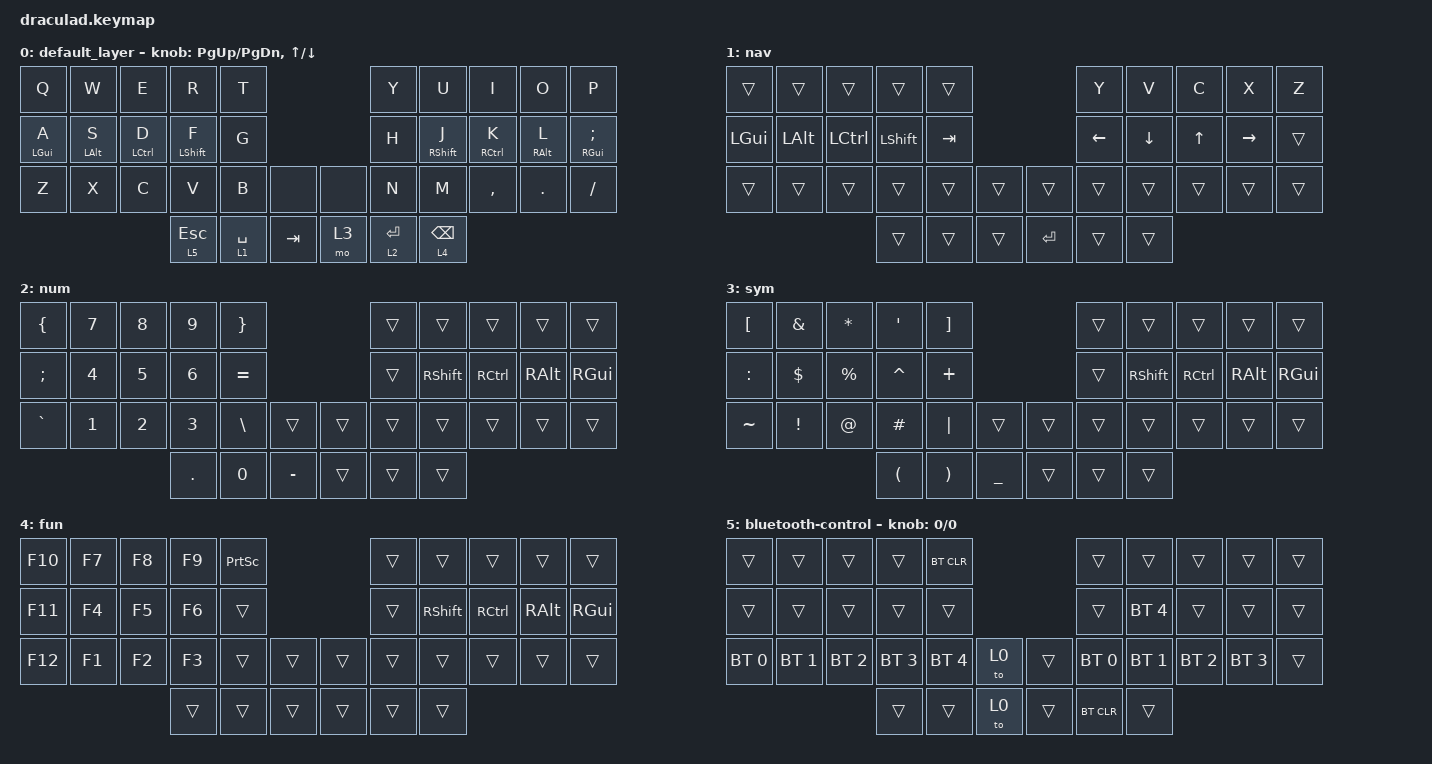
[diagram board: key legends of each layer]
/*
 * Copyright (c) 2020 The ZMK Contributors
 *
 * SPDX-License-Identifier: MIT
 */

#include <behaviors.dtsi>
#include <dt-bindings/zmk/bt.h>
#include <dt-bindings/zmk/keys.h>

&mt { tapping-term-ms = <800>; };

&lt { quick-tap-ms = <125>; };

/ {
    behaviors {
        hold_tap_modifier: hold_tap_modifier {
            compatible = "zmk,behavior-hold-tap";
            label = "HOLD_TAP_MODIFIER";
            bindings = <&kp>, <&kp>;

            #binding-cells = <2>;
            tapping-term-ms = <200>;
            hold-trigger-key-positions = <>;
            flavor = "tap-preferred";
            global-quick-tap;
            quick-tap-ms = <125>;
        };
    };

    keymap {
        compatible = "zmk,keymap";

        default_layer {
            bindings = <
&kp Q                          &kp W                          &kp E                       &kp R                       &kp T                          &kp Y        &kp U                        &kp I                       &kp O                           &kp P
&hold_tap_modifier LEFT_GUI A  &hold_tap_modifier LEFT_ALT S  &hold_tap_modifier LCTRL D  &hold_tap_modifier LSHFT F  &kp G                          &kp H        &hold_tap_modifier RSHIFT J  &hold_tap_modifier RCTRL K  &hold_tap_modifier RIGHT_ALT L  &hold_tap_modifier RIGHT_GUI SEMICOLON
&kp Z                          &kp X                          &kp C                       &kp V                       &kp B        &none      &none  &kp N        &kp M                        &kp COMMA                   &kp PERIOD                      &kp SLASH
                                                                                          &lt 5 ESCAPE                &lt 1 SPACE  &kp TAB    &mo 3  &lt 2 ENTER  &lt 4 BACKSPACE
            >;

            sensor-bindings =
                <&inc_dec_kp PAGE_UP PAGE_DOWN>,
                <&inc_dec_kp UP_ARROW DOWN>;
        };

        nav {
            bindings = <
&trans        &trans        &trans     &trans          &trans                        &kp Y     &kp V     &kp C         &kp X      &kp Z
&kp LEFT_GUI  &kp LEFT_ALT  &kp LCTRL  &kp LEFT_SHIFT  &kp TAB                       &kp LEFT  &kp DOWN  &kp UP_ARROW  &kp RIGHT  &trans
&trans        &trans        &trans     &trans          &trans   &trans    &trans     &trans    &trans    &trans        &trans     &trans
                                       &trans          &trans   &trans    &kp ENTER  &trans    &trans
            >;
        };

        num {
            bindings = <
&kp LBRC       &kp N7        &kp N8        &kp N9        &kp RIGHT_BRACE                       &trans  &trans      &trans     &trans         &trans
&kp SEMICOLON  &kp NUMBER_4  &kp N5        &kp NUMBER_6  &kp EQUAL                             &trans  &kp RSHIFT  &kp RCTRL  &kp RIGHT_ALT  &kp RIGHT_GUI
&kp GRAVE      &kp NUMBER_1  &kp NUMBER_2  &kp NUMBER_3  &kp BACKSLASH    &trans       &trans  &trans  &trans      &trans     &trans         &trans
                                           &kp DOT       &kp NUMBER_0     &kp MINUS    &trans  &trans  &trans
            >;
        };

        sym {
            bindings = <
&kp LEFT_BRACKET  &kp AMPS         &kp ASTERISK  &kp SQT               &kp RBKT                                         &trans  &trans      &trans     &trans         &trans
&kp COLON         &kp DLLR         &kp PERCENT   &kp CARET             &kp PLUS                                         &trans  &kp RSHIFT  &kp RCTRL  &kp RIGHT_ALT  &kp RGUI
&kp TILDE         &kp EXCLAMATION  &kp AT_SIGN   &kp HASH              &kp PIPE               &trans            &trans  &trans  &trans      &trans     &trans         &trans
                                                 &kp LEFT_PARENTHESIS  &kp RIGHT_PARENTHESIS  &kp UNDERSCORE    &trans  &trans  &trans
            >;
        };

        fun {
            bindings = <
&kp F10  &kp F7  &kp F8  &kp F9  &kp PSCRN                    &trans  &trans      &trans     &trans         &trans
&kp F11  &kp F4  &kp F5  &kp F6  &trans                       &trans  &kp RSHIFT  &kp RCTRL  &kp RIGHT_ALT  &kp RIGHT_GUI
&kp F12  &kp F1  &kp F2  &kp F3  &trans     &trans    &trans  &trans  &trans      &trans     &trans         &trans
                         &trans  &trans     &trans    &trans  &trans  &trans
            >;
        };

        bluetooth-control {
            bindings = <
&trans        &trans        &trans        &trans        &bt BT_CLR                     &trans        &trans        &trans        &trans        &trans
&trans        &trans        &trans        &trans        &trans                         &trans        &bt BT_SEL 4  &trans        &trans        &trans
&bt BT_SEL 0  &bt BT_SEL 1  &bt BT_SEL 2  &bt BT_SEL 3  &bt BT_SEL 4  &to 0    &trans  &bt BT_SEL 0  &bt BT_SEL 1  &bt BT_SEL 2  &bt BT_SEL 3  &trans
                                          &trans        &trans        &to 0    &trans  &bt BT_CLR    &trans
            >;

            sensor-bindings = <&inc_dec_kp 0 0>;
        };
    };
};
